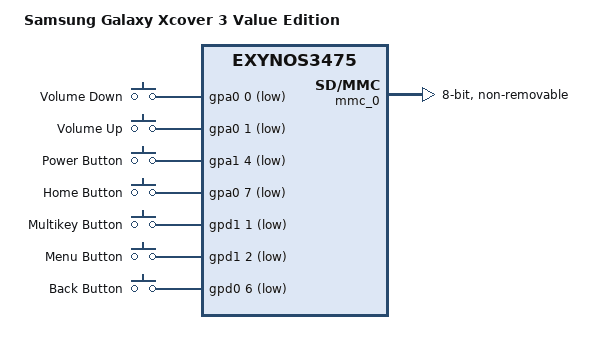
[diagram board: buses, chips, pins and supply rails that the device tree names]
// SPDX-License-Identifier: BSD-3-Clause
/*
 * Samsung's Galaxy Xcover 3 Value Edition Device Tree
 *
 * Copyright (c) 2022, Ivaylo Ivanov <ivo.ivanov.ivanov1@gmail.com>
 */
/dts-v1/;

#include <dt-bindings/gpio/gpio.h>
#include <dt-bindings/input/input.h>
#include "exynos3475.dtsi"

/ {
	model = "Samsung Galaxy Xcover 3 Value Edition";
	compatible = "samsung,xcover3velte", "samsung,exynos3475";
	chassis-type = "handset";

	chosen {
		#address-cells = <2>;
		#size-cells = <2>;
		ranges;

		framebuffer0: framebuffer@57e05000 {
			status= "okay";
			compatible = "simple-framebuffer";
			reg = <0x0 0x57e05000 0x0 (480 * 800 * 4)>;
			width = <480>;
			height = <800>;
			stride = <(480 * 4)>;
			format = "a8r8g8b8";
		};
	};

	gpio_keys {
		compatible = "gpio-keys";
		#address-cells = <1>;
		#size-cells = <0>;

		volume-down {
			label = "Volume Down";
			linux,code = <KEY_VOLUMEDOWN>;
			gpios = <&gpa0 0 GPIO_ACTIVE_LOW>;
		};

		volume-up {
			label = "Volume Up";
			linux,code = <KEY_VOLUMEUP>;
			gpios = <&gpa0 1 GPIO_ACTIVE_LOW>;
		};

		power {
			label = "Power Button";
			linux,code = <KEY_POWER>;
			gpios = <&gpa1 4 GPIO_ACTIVE_LOW>;
			wakeup-source;
		};

		home {
			label = "Home Button";
			linux,code = <KEY_HOMEPAGE>;
			gpios = <&gpa0 7 GPIO_ACTIVE_LOW>;
			wakeup-source;
		};

		multi {
			label = "Multikey Button";
			linux,code = <KEY_LAST>;
			gpios = <&gpd1 1 GPIO_ACTIVE_LOW>;
		};

		menu {
			label = "Menu Button";
			linux,code = <KEY_MENU>;
			gpios = <&gpd1 2 GPIO_ACTIVE_LOW>;
		};

		back {
			label = "Back Button";
			linux,code = <KEY_BACK>;
			gpios = <&gpd0 6 GPIO_ACTIVE_LOW>;
		};
	};

	memory {
		device_type = "memory";
		/* We expect the bootloader to fill in the reg */
		reg = <0x0 0x20000000 0x0 0x0>;
	};

	reserved-memory {
		#address-cells = <2>;
		#size-cells = <2>;
		ranges;

		continuous_splash: framebuffer@57e05000 {
			reg = <0x0 0x57e05000 0x0 (480 * 800 * 4)>;
			no-map;
		};
	};
};

&mmc_0 {
	mmc-hs200-1_8v;
	card-detect-delay = <200>;
	clock-frequency = <800000000>;
	bus-width = <8>;
	cap-mmc-highspeed;
	non-removable;
	samsung,dw-mshc-ciu-div = <3>;
	samsung,dw-mshc-sdr-timing = <0 4>;
	samsung,dw-mshc-ddr-timing = <0 2>;
	samsung,dw-mshc-hs400-timing = <0 3>;
	samsung,read-strobe-delay = <90>;

	pinctrl-names = "default";
	pinctrl-0 = <&sd0_clk &sd0_cmd &sd0_rdqs &sd0_bus1 &sd0_bus4 &sd0_bus8>;

	status = "okay";
};
